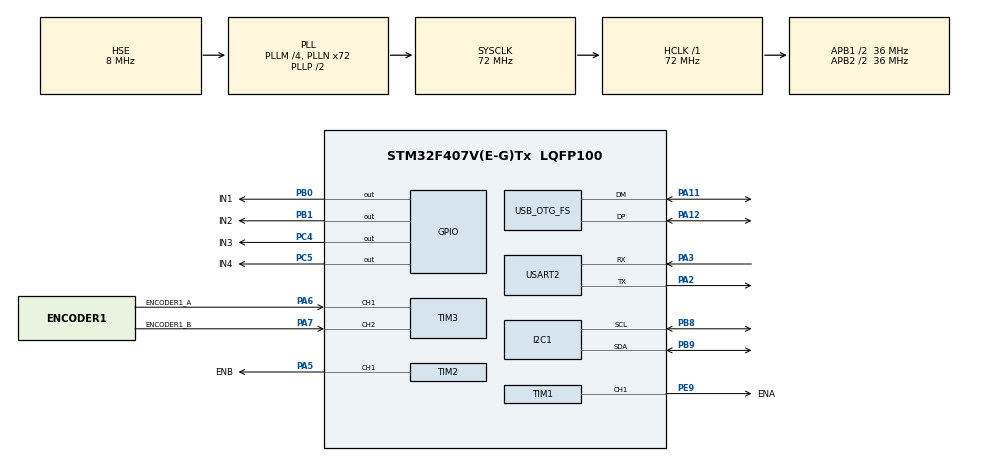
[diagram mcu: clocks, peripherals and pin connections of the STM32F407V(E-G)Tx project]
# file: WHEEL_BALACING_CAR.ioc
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Mcu.Family=STM32F4
Mcu.Name=STM32F407V(E-G)Tx
Mcu.Package=LQFP100
NVIC.OTG_FS_IRQn=true\:0\:0\:false\:false\:true\:false\:true\:true
NVIC.PriorityGroup=NVIC_PRIORITYGROUP_4
NVIC.TIM1_BRK_TIM9_IRQn=true\:0\:0\:false\:false\:true\:true\:true\:true
NVIC.TIM4_IRQn=true\:0\:0\:false\:false\:true\:true\:true\:true
NVIC.TIM5_IRQn=true\:0\:0\:false\:false\:true\:true\:true\:true
NVIC.USART2_IRQn=true\:0\:0\:false\:false\:true\:true\:true\:true
PA11.Mode=Device_Only
PA11.Signal=USB_OTG_FS_DM
PA12.Mode=Device_Only
PA12.Signal=USB_OTG_FS_DP
PA2.Mode=Asynchronous
PA2.Signal=USART2_TX
PA3.Mode=Asynchronous
PA3.Signal=USART2_RX
PA5.GPIO_Label=ENB
PA5.Signal=S_TIM2_CH1_ETR
PA6.GPIO_Label=ENCODER1_A
PA6.Signal=S_TIM3_CH1
PA7.GPIO_Label=ENCODER1_B
PA7.Signal=S_TIM3_CH2
PB0.GPIO_Label=IN1
PB0.GPIO_Speed=GPIO_SPEED_FREQ_HIGH
PB0.Signal=GPIO_Output
PB1.GPIO_Label=IN2
PB1.GPIO_Speed=GPIO_SPEED_FREQ_HIGH
PB1.Signal=GPIO_Output
PB8.Mode=I2C
PB8.Signal=I2C1_SCL
PB9.Mode=I2C
PB9.Signal=I2C1_SDA
PC4.GPIO_Label=IN3
PC4.GPIO_Speed=GPIO_SPEED_FREQ_HIGH
PC4.Signal=GPIO_Output
PC5.GPIO_Label=IN4
PC5.GPIO_Speed=GPIO_SPEED_FREQ_HIGH
PC5.Signal=GPIO_Output
PE9.GPIO_Label=ENA
PE9.Signal=S_TIM1_CH1
PH0-OSC_IN.Mode=HSE-External-Oscillator
PH0-OSC_IN.Signal=RCC_OSC_IN
PH1-OSC_OUT.Mode=HSE-External-Oscillator
PH1-OSC_OUT.Signal=RCC_OSC_OUT
ProjectManager.HeapSize=0x200
ProjectManager.StackSize=0x400
ProjectManager.TargetToolchain=STM32CubeIDE
RCC.48MHZClocksFreq_Value=48000000
RCC.AHBFreq_Value=72000000
RCC.APB1CLKDivider=RCC_HCLK_DIV2
RCC.APB1Freq_Value=36000000
RCC.APB1TimFreq_Value=72000000
RCC.APB2CLKDivider=RCC_HCLK_DIV2
RCC.APB2Freq_Value=36000000
RCC.APB2TimFreq_Value=72000000
RCC.CortexFreq_Value=72000000
RCC.HCLKFreq_Value=72000000
RCC.HSE_VALUE=8000000
RCC.HSI_VALUE=16000000
RCC.LSE_VALUE=32768
RCC.PLLM=4
RCC.PLLN=72
RCC.PLLQ=3
RCC.SYSCLKFreq_VALUE=72000000
RCC.SYSCLKSource=RCC_SYSCLKSOURCE_PLLCLK
RCC.VCOOutputFreq_Value=144000000
SH.S_TIM1_CH1.0=TIM1_CH1,PWM Generation1 CH1
SH.S_TIM2_CH1_ETR.0=TIM2_CH1,PWM Generation1 CH1
SH.S_TIM3_CH1.0=TIM3_CH1,Encoder_Interface
SH.S_TIM3_CH2.0=TIM3_CH2,Encoder_Interface
TIM1.Channel-PWM\ Generation1\ CH1=TIM_CHANNEL_1
TIM1.Period=999
TIM1.Prescaler=71
TIM2.Channel-PWM\ Generation1\ CH1=TIM_CHANNEL_1
TIM2.Period=999
TIM2.Prescaler=71
TIM3.EncoderMode=TIM_ENCODERMODE_TI12
TIM4.Period=49
TIM4.Prescaler=7199
TIM5.Period=199
TIM5.Prescaler=7199
USART2.VirtualMode=VM_ASYNC
USB_DEVICE.CLASS_NAME_FS=CDC
USB_DEVICE.VirtualMode-CDC_FS=Cdc
USB_DEVICE.VirtualModeFS=Cdc_FS
USB_OTG_FS.VirtualMode=Device_Only
VP_TIM1_VS_ClockSourceINT.Mode=Internal
VP_TIM2_VS_ClockSourceINT.Mode=Internal
VP_TIM4_VS_ClockSourceINT.Mode=Internal
VP_TIM5_VS_ClockSourceINT.Mode=Internal
VP_USB_DEVICE_VS_USB_DEVICE_CDC_FS.Mode=CDC_FS
board=custom

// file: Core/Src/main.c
/* USER CODE BEGIN Header */
/**
  ******************************************************************************
  * @file           : main.c
  * @brief          : Main program body
  ******************************************************************************
  * @attention
  *
  * Copyright (c) 2025 STMicroelectronics.
  * All rights reserved.
  *
  * This software is licensed under terms that can be found in the LICENSE file
  * in the root directory of this software component.
  * If no LICENSE file comes with this software, it is provided AS-IS.
  *
  ******************************************************************************
  */
/* USER CODE END Header */
#include "main.h"
#include "usb_device.h"

/* USER CODE BEGIN Includes */
#include <stdio.h>
#include <string.h>
#include <stdlib.h>
#include <math.h>
#include "usbd_cdc_if.h"
#include "mpu6050.h"
#include "pid.h"
#include "motor.h"
/* USER CODE END Includes */

I2C_HandleTypeDef hi2c1;

TIM_HandleTypeDef htim1;
TIM_HandleTypeDef htim2;
TIM_HandleTypeDef htim3;
TIM_HandleTypeDef htim4;
TIM_HandleTypeDef htim5;

UART_HandleTypeDef huart2;

/* USER CODE BEGIN PV */
MPU6050_t MPU6050;
Motor_TypeDef MT;
PID_TypeDef PID_Angle;

double Angle;
double Angle_Output;
double Angle_Setpoint = 0.5;

extern uint8_t check_global;

float Angle_kp = 18; //18
float Angle_ki = 122; //122
float Angle_kd = 0.32; //0.32

uint8_t Delay5msFlag = 0;
uint8_t Delay40msFlag = 0;

uint8_t sbBuffer[50];
uint8_t sbBufferLen = sizeof(sbBuffer);
uint8_t space[] = "\r\n";
uint8_t USB_ReceiveFlag = 0;
char *mPart, *dPart, *sPart;

uint8_t RxBuff[20];
uint8_t RxData;
uint8_t RxIndex;
uint8_t RxFlag = 0;
uint8_t PxBuff[20];

char buffer[50];
double sub = 0;
/* USER CODE END PV */

void SystemClock_Config(void);
static void MX_GPIO_Init(void);
static void MX_I2C1_Init(void);
static void MX_TIM1_Init(void);
static void MX_TIM2_Init(void);
static void MX_TIM3_Init(void);
static void MX_TIM5_Init(void);
static void MX_TIM4_Init(void);
static void MX_USART2_UART_Init(void);

/* USER CODE BEGIN 0 */
int _write(int file, char *ptr, int len) {
	while(CDC_Transmit_FS((uint8_t*) ptr, len) == USBD_BUSY);
    return len;
//    HAL_UART_Transmit(&huart2, (uint8_t *)ptr, len, HAL_MAX_DELAY);
//    return len;
}

void USB_CDC_RxHandler(uint8_t* Buf, uint32_t Len)
{
	memcpy(sbBuffer, Buf, Len);
	sbBuffer[Len] = '\0';
	sbBufferLen = Len;
	CDC_Transmit_FS(space, sizeof(space));

	USB_ReceiveFlag = 1;
}

void HAL_TIM_PeriodElapsedCallback(TIM_HandleTypeDef *htim)
{
	if (htim->Instance == TIM4)
	{
		Delay5msFlag = 1;
	}
	if (htim->Instance == TIM5)
	{
		Delay40msFlag = 1;
	}
}
//
//void UART2_SendFloat(float data)
//{
//    char buf[20];
//    int len = sprintf(buf, "%f\r\n", data);  // chuỗi có newline cho Serial Plotter
//    HAL_UART_Transmit(&huart2, (uint8_t*)buf, len, HAL_MAX_DELAY);
//}

void HAL_UART_RxCpltCallback(UART_HandleTypeDef *huart)
{
  /* Prevent unused argument(s) compilation warning */
  UNUSED(huart);
  if (huart->Instance == USART2)
  {
	  if (RxData != 13)
	  {
		  RxBuff[RxIndex++] = RxData;
	  }
	  else
	  {
		  RxBuff[RxIndex] = '\0';
		  RxIndex = 0;
		  RxFlag = 1;
	  }
	  HAL_UART_Receive_IT(&huart2, &RxData, 1);
  }
  /* NOTE: This function should not be modified, when the callback is needed,
           the HAL_UART_RxCpltCallback could be implemented in the user file
   */
}

/* USER CODE END 0 */

int main(void)
{

  /* MCU Configuration--------------------------------------------------------*/

  /* Reset of all peripherals, Initializes the Flash interface and the Systick. */
  HAL_Init();

  /* Configure the system clock */
  SystemClock_Config();

  /* Initialize all configured peripherals */
  MX_GPIO_Init();
  MX_USB_DEVICE_Init();
  MX_I2C1_Init();
  MX_TIM1_Init();
  MX_TIM2_Init();
  MX_TIM3_Init();
  MX_TIM5_Init();
  MX_TIM4_Init();
  MX_USART2_UART_Init();
  /* USER CODE BEGIN 2 */
  HAL_TIM_PWM_Start(&htim1, TIM_CHANNEL_1);
  HAL_TIM_PWM_Start(&htim2, TIM_CHANNEL_1);
  HAL_TIM_Encoder_Start(&htim3, TIM_CHANNEL_ALL);
  HAL_TIM_Base_Start_IT(&htim5);
  HAL_TIM_Base_Start_IT(&htim4);
//  HAL_UART_Receive_IT(&huart1, &rxByte, 1);

  mpu6050_init(&MPU6050, &Angle);
  PID_Init(&PID_Angle, &Angle, &Angle_Output, &Angle_Setpoint, Angle_kp, Angle_ki, Angle_kd, 5);

  setLimit(&PID_Angle, 50, -50, 100, -100);

  timer = HAL_GetTick();

  HAL_UART_Receive_IT(&huart2, &RxData, 1);
  /* USER CODE END 2 */

  /* Infinite loop */
  /* USER CODE BEGIN WHILE */
  while (1)
  {
//	  Xu ly giao tiep USB (Hercules, ESP32)
	  if (USB_ReceiveFlag)
	  {
	  	  char* OP = strtok((char*)sbBuffer, " ");
	  	  if (strcmp(OP, "T") == 0)
	  	  {
	  		  char* pPart = strtok(NULL, " ");
	  		  char* iPart = strtok(NULL, " ");
	  		  char* dPart = strtok(NULL, " ");

	  		  setTunings(&PID_Angle, atoff(pPart), atoff(iPart), atoff(dPart));

	  		  printf("Done!\r\n");
	  	  }
	  	  else if (strcmp(OP, "S") == 0)
	  	  {
	  		  printf("Kp: %f\r\n", fabs(PID_Angle.Kp));
	  		  printf("Ki: %f\r\n", fabs(PID_Angle.Ki/0.005));
	  		  printf("Kd: %f\r\n", fabs(PID_Angle.Kd*0.005));
	  		  printf("check_global: %d\r\n", check_global);
	  		  printf("Angle_Setpoint: %f\r\n", Angle_Setpoint);
	  		  printf("Angle: %f\r\n", Angle);
	  		  printf("Speed: %d\r\n", MT.per);
	  		  printf("Angle_Output: %f\r\n", Angle_Output);
	  	  }
	  	  else if (strcmp(OP, "M") == 0)
	  	  {
	  		  printf("Tuning: T <Kp> <Ki> <Kd>\r\n");
	  		  printf("Status: S\r\n");
	  	  }
	  	  else if (strcmp(OP, "A") == 0)
	  	  {
	  		  char* aPart = strtok(NULL, " ");
	  		  Angle_Setpoint = atof(aPart);
	  		  printf("Done!\r\n");
	  	  }
	  	  USB_ReceiveFlag = 0;
	  }

//	  if (RxFlag)
//	  	  {
//	  		  RxFlag = 0;
//	  		  HAL_UART_Transmit(&huart2, space, sizeof(space), HAL_MAX_DELAY);
//
//	  		  memcpy(PxBuff, RxBuff, sizeof(RxBuff));
//	  		  char* OP = strtok((char*)PxBuff, " ");
//	  		  if (strcmp(OP, "T") == 0)
//	  		  {
//	  	  		  char* pPart = strtok(NULL, " ");//Kp Part
//	  	  		  char* iPart = strtok(NULL, " ");//Ki Part
//	  	  		  char* dPart = strtok(NULL, " ");//Kd Part
//
//	  	  		  setTunings(&PID_Angle, atoff(pPart), atoff(iPart), atoff(dPart));
//	  //	  		  setTunings(&PID_Velocity1, atoff(pPart), atoff(iPart), atoff(dPart));
//	  	  		  printf("DONE!\r\n");
//	  		  }
//	  		  else if (strcmp(OP, "S") == 0)
//	  		  {
//	  	  		  printf("Kp: %f\r\n", fabs(PID_Angle.Kp));
//	  	  		  printf("Ki: %f\r\n", fabs(PID_Angle.Ki/0.01));
//	  	  		  printf("Kd: %f\r\n", fabs(PID_Angle.Kd*0.01));
//	  	  		  printf("Angle: %f\r\n", Angle);
//	  	  		  printf("Speed: %d\r\n", MT.per);
//	  	  		  printf("check_global: %d\r\n", check_global);
//	  		  }
//	  		  else if (strcmp(OP, "C") == 0)
//	  		  {
//	  			  char* mPart = strtok(NULL, " ");//Motor Part (M1, M2, ALL)
//	  			  char* dPart = strtok(NULL, " ");//Direct Part (F, R, S)
//	  			  char* sPart = strtok(NULL, " ");//Speed Part (0-100)
//
//	  			  Motor motor;
//	  			  Direction dir;
//	  			  uint16_t speed = atoi(sPart);
//
//	  			  if (strcmp(mPart, "M1") == 0) motor = M1;
//	  			  else if (strcmp(mPart, "M2") == 0) motor = M2;
//	  			  else if (strcmp(mPart, "ALL") == 0) motor = ALL;
//
//	  			  if (strcmp(dPart, "F") == 0) dir = F;
//	  			  else if (strcmp(mPart, "R") == 0) dir = R;
//	  			  else if (strcmp(mPart, "S") == 0) dir = S;
//
//	  			  Motor_Controller(motor, dir, speed);
//	  		  }
//	  	  }

	  	if (Delay5msFlag)
		{
	  		Delay5msFlag = 0;
	  		mpu6050_read_All(&MPU6050);
	  		computePID(&PID_Angle);
		}
		sprintf(buffer,"Angle: %f\r\n",Angle);
		CDC_Transmit_FS((uint8_t*)buffer, strlen(buffer));

	  	Motor_getPercent(&MT, Angle_Output);
	  	Motor_Controller(ALL, MT.dir, MT.per);

//	  	Motor_Controller(ALL, F, 100);
    /* USER CODE END WHILE */

  }
}

void SystemClock_Config(void)
{
  RCC_OscInitTypeDef RCC_OscInitStruct = {0};
  RCC_ClkInitTypeDef RCC_ClkInitStruct = {0};

  /** Configure the main internal regulator output voltage
  */
  __HAL_RCC_PWR_CLK_ENABLE();
  __HAL_PWR_VOLTAGESCALING_CONFIG(PWR_REGULATOR_VOLTAGE_SCALE1);

  /** Initializes the RCC Oscillators according to the specified parameters
  * in the RCC_OscInitTypeDef structure.
  */
  RCC_OscInitStruct.OscillatorType = RCC_OSCILLATORTYPE_HSE;
  RCC_OscInitStruct.HSEState = RCC_HSE_ON;
  RCC_OscInitStruct.PLL.PLLState = RCC_PLL_ON;
  RCC_OscInitStruct.PLL.PLLSource = RCC_PLLSOURCE_HSE;
  RCC_OscInitStruct.PLL.PLLM = 4;
  RCC_OscInitStruct.PLL.PLLN = 72;
  RCC_OscInitStruct.PLL.PLLP = RCC_PLLP_DIV2;
  RCC_OscInitStruct.PLL.PLLQ = 3;
  if (HAL_RCC_OscConfig(&RCC_OscInitStruct) != HAL_OK)
  {
    Error_Handler();
  }

  /** Initializes the CPU, AHB and APB buses clocks
  */
  RCC_ClkInitStruct.ClockType = RCC_CLOCKTYPE_HCLK|RCC_CLOCKTYPE_SYSCLK
                              |RCC_CLOCKTYPE_PCLK1|RCC_CLOCKTYPE_PCLK2;
  RCC_ClkInitStruct.SYSCLKSource = RCC_SYSCLKSOURCE_PLLCLK;
  RCC_ClkInitStruct.AHBCLKDivider = RCC_SYSCLK_DIV1;
  RCC_ClkInitStruct.APB1CLKDivider = RCC_HCLK_DIV2;
  RCC_ClkInitStruct.APB2CLKDivider = RCC_HCLK_DIV2;

  if (HAL_RCC_ClockConfig(&RCC_ClkInitStruct, FLASH_LATENCY_2) != HAL_OK)
  {
    Error_Handler();
  }
}

static void MX_I2C1_Init(void)
{

  hi2c1.Instance = I2C1;
  hi2c1.Init.ClockSpeed = 100000;
  hi2c1.Init.DutyCycle = I2C_DUTYCYCLE_2;
  hi2c1.Init.OwnAddress1 = 0;
  hi2c1.Init.AddressingMode = I2C_ADDRESSINGMODE_7BIT;
  hi2c1.Init.DualAddressMode = I2C_DUALADDRESS_DISABLE;
  hi2c1.Init.OwnAddress2 = 0;
  hi2c1.Init.GeneralCallMode = I2C_GENERALCALL_DISABLE;
  hi2c1.Init.NoStretchMode = I2C_NOSTRETCH_DISABLE;
  if (HAL_I2C_Init(&hi2c1) != HAL_OK)
  {
    Error_Handler();
  }

}

static void MX_TIM1_Init(void)
{

  TIM_ClockConfigTypeDef sClockSourceConfig = {0};
  TIM_MasterConfigTypeDef sMasterConfig = {0};
  TIM_OC_InitTypeDef sConfigOC = {0};
  TIM_BreakDeadTimeConfigTypeDef sBreakDeadTimeConfig = {0};

  htim1.Instance = TIM1;
  htim1.Init.Prescaler = 71;
  htim1.Init.CounterMode = TIM_COUNTERMODE_UP;
  htim1.Init.Period = 999;
  htim1.Init.ClockDivision = TIM_CLOCKDIVISION_DIV1;
  htim1.Init.RepetitionCounter = 0;
  htim1.Init.AutoReloadPreload = TIM_AUTORELOAD_PRELOAD_DISABLE;
  if (HAL_TIM_Base_Init(&htim1) != HAL_OK)
  {
    Error_Handler();
  }
  sClockSourceConfig.ClockSource = TIM_CLOCKSOURCE_INTERNAL;
  if (HAL_TIM_ConfigClockSource(&htim1, &sClockSourceConfig) != HAL_OK)
  {
    Error_Handler();
  }
  if (HAL_TIM_PWM_Init(&htim1) != HAL_OK)
  {
    Error_Handler();
  }
  sMasterConfig.MasterOutputTrigger = TIM_TRGO_RESET;
  sMasterConfig.MasterSlaveMode = TIM_MASTERSLAVEMODE_DISABLE;
  if (HAL_TIMEx_MasterConfigSynchronization(&htim1, &sMasterConfig) != HAL_OK)
  {
    Error_Handler();
  }
  sConfigOC.OCMode = TIM_OCMODE_PWM1;
  sConfigOC.Pulse = 0;
  sConfigOC.OCPolarity = TIM_OCPOLARITY_HIGH;
  sConfigOC.OCNPolarity = TIM_OCNPOLARITY_HIGH;
  sConfigOC.OCFastMode = TIM_OCFAST_DISABLE;
  sConfigOC.OCIdleState = TIM_OCIDLESTATE_RESET;
  sConfigOC.OCNIdleState = TIM_OCNIDLESTATE_RESET;
  if (HAL_TIM_PWM_ConfigChannel(&htim1, &sConfigOC, TIM_CHANNEL_1) != HAL_OK)
  {
    Error_Handler();
  }
  sBreakDeadTimeConfig.OffStateRunMode = TIM_OSSR_DISABLE;
  sBreakDeadTimeConfig.OffStateIDLEMode = TIM_OSSI_DISABLE;
  sBreakDeadTimeConfig.LockLevel = TIM_LOCKLEVEL_OFF;
  sBreakDeadTimeConfig.DeadTime = 0;
  sBreakDeadTimeConfig.BreakState = TIM_BREAK_DISABLE;
  sBreakDeadTimeConfig.BreakPolarity = TIM_BREAKPOLARITY_HIGH;
  sBreakDeadTimeConfig.AutomaticOutput = TIM_AUTOMATICOUTPUT_DISABLE;
  if (HAL_TIMEx_ConfigBreakDeadTime(&htim1, &sBreakDeadTimeConfig) != HAL_OK)
  {
    Error_Handler();
  }
  HAL_TIM_MspPostInit(&htim1);

}

static void MX_TIM2_Init(void)
{

  TIM_ClockConfigTypeDef sClockSourceConfig = {0};
  TIM_MasterConfigTypeDef sMasterConfig = {0};
  TIM_OC_InitTypeDef sConfigOC = {0};

  htim2.Instance = TIM2;
  htim2.Init.Prescaler = 71;
  htim2.Init.CounterMode = TIM_COUNTERMODE_UP;
  htim2.Init.Period = 999;
  htim2.Init.ClockDivision = TIM_CLOCKDIVISION_DIV1;
  htim2.Init.AutoReloadPreload = TIM_AUTORELOAD_PRELOAD_DISABLE;
  if (HAL_TIM_Base_Init(&htim2) != HAL_OK)
  {
    Error_Handler();
  }
  sClockSourceConfig.ClockSource = TIM_CLOCKSOURCE_INTERNAL;
  if (HAL_TIM_ConfigClockSource(&htim2, &sClockSourceConfig) != HAL_OK)
  {
    Error_Handler();
  }
  if (HAL_TIM_PWM_Init(&htim2) != HAL_OK)
  {
    Error_Handler();
  }
  sMasterConfig.MasterOutputTrigger = TIM_TRGO_RESET;
  sMasterConfig.MasterSlaveMode = TIM_MASTERSLAVEMODE_DISABLE;
  if (HAL_TIMEx_MasterConfigSynchronization(&htim2, &sMasterConfig) != HAL_OK)
  {
    Error_Handler();
  }
  sConfigOC.OCMode = TIM_OCMODE_PWM1;
  sConfigOC.Pulse = 0;
  sConfigOC.OCPolarity = TIM_OCPOLARITY_HIGH;
  sConfigOC.OCFastMode = TIM_OCFAST_DISABLE;
  if (HAL_TIM_PWM_ConfigChannel(&htim2, &sConfigOC, TIM_CHANNEL_1) != HAL_OK)
  {
    Error_Handler();
  }
  HAL_TIM_MspPostInit(&htim2);

}

static void MX_TIM3_Init(void)
{

  TIM_Encoder_InitTypeDef sConfig = {0};
  TIM_MasterConfigTypeDef sMasterConfig = {0};

  htim3.Instance = TIM3;
  htim3.Init.Prescaler = 0;
  htim3.Init.CounterMode = TIM_COUNTERMODE_UP;
  htim3.Init.Period = 65535;
  htim3.Init.ClockDivision = TIM_CLOCKDIVISION_DIV1;
  htim3.Init.AutoReloadPreload = TIM_AUTORELOAD_PRELOAD_DISABLE;
  sConfig.EncoderMode = TIM_ENCODERMODE_TI12;
  sConfig.IC1Polarity = TIM_ICPOLARITY_RISING;
  sConfig.IC1Selection = TIM_ICSELECTION_DIRECTTI;
  sConfig.IC1Prescaler = TIM_ICPSC_DIV1;
  sConfig.IC1Filter = 0;
  sConfig.IC2Polarity = TIM_ICPOLARITY_RISING;
  sConfig.IC2Selection = TIM_ICSELECTION_DIRECTTI;
  sConfig.IC2Prescaler = TIM_ICPSC_DIV1;
  sConfig.IC2Filter = 0;
  if (HAL_TIM_Encoder_Init(&htim3, &sConfig) != HAL_OK)
  {
    Error_Handler();
  }
  sMasterConfig.MasterOutputTrigger = TIM_TRGO_RESET;
  sMasterConfig.MasterSlaveMode = TIM_MASTERSLAVEMODE_DISABLE;
  if (HAL_TIMEx_MasterConfigSynchronization(&htim3, &sMasterConfig) != HAL_OK)
  {
    Error_Handler();
  }

}

static void MX_TIM4_Init(void)
{

  TIM_ClockConfigTypeDef sClockSourceConfig = {0};
  TIM_MasterConfigTypeDef sMasterConfig = {0};

  htim4.Instance = TIM4;
  htim4.Init.Prescaler = 7199;
  htim4.Init.CounterMode = TIM_COUNTERMODE_UP;
  htim4.Init.Period = 49;
  htim4.Init.ClockDivision = TIM_CLOCKDIVISION_DIV1;
  htim4.Init.AutoReloadPreload = TIM_AUTORELOAD_PRELOAD_DISABLE;
  if (HAL_TIM_Base_Init(&htim4) != HAL_OK)
  {
    Error_Handler();
  }
  sClockSourceConfig.ClockSource = TIM_CLOCKSOURCE_INTERNAL;
  if (HAL_TIM_ConfigClockSource(&htim4, &sClockSourceConfig) != HAL_OK)
  {
    Error_Handler();
  }
  sMasterConfig.MasterOutputTrigger = TIM_TRGO_RESET;
  sMasterConfig.MasterSlaveMode = TIM_MASTERSLAVEMODE_DISABLE;
  if (HAL_TIMEx_MasterConfigSynchronization(&htim4, &sMasterConfig) != HAL_OK)
  {
    Error_Handler();
  }

}

static void MX_TIM5_Init(void)
{

  TIM_ClockConfigTypeDef sClockSourceConfig = {0};
  TIM_MasterConfigTypeDef sMasterConfig = {0};

  htim5.Instance = TIM5;
  htim5.Init.Prescaler = 7199;
  htim5.Init.CounterMode = TIM_COUNTERMODE_UP;
  htim5.Init.Period = 199;
  htim5.Init.ClockDivision = TIM_CLOCKDIVISION_DIV1;
  htim5.Init.AutoReloadPreload = TIM_AUTORELOAD_PRELOAD_DISABLE;
  if (HAL_TIM_Base_Init(&htim5) != HAL_OK)
  {
    Error_Handler();
  }
  sClockSourceConfig.ClockSource = TIM_CLOCKSOURCE_INTERNAL;
  if (HAL_TIM_ConfigClockSource(&htim5, &sClockSourceConfig) != HAL_OK)
  {
    Error_Handler();
  }
  sMasterConfig.MasterOutputTrigger = TIM_TRGO_RESET;
  sMasterConfig.MasterSlaveMode = TIM_MASTERSLAVEMODE_DISABLE;
  if (HAL_TIMEx_MasterConfigSynchronization(&htim5, &sMasterConfig) != HAL_OK)
  {
    Error_Handler();
  }

}

static void MX_USART2_UART_Init(void)
{

  huart2.Instance = USART2;
  huart2.Init.BaudRate = 115200;
  huart2.Init.WordLength = UART_WORDLENGTH_8B;
  huart2.Init.StopBits = UART_STOPBITS_1;
  huart2.Init.Parity = UART_PARITY_NONE;
  huart2.Init.Mode = UART_MODE_TX_RX;
  huart2.Init.HwFlowCtl = UART_HWCONTROL_NONE;
  huart2.Init.OverSampling = UART_OVERSAMPLING_16;
  if (HAL_UART_Init(&huart2) != HAL_OK)
  {
    Error_Handler();
  }

}

static void MX_GPIO_Init(void)
{
  GPIO_InitTypeDef GPIO_InitStruct = {0};

  /* GPIO Ports Clock Enable */
  __HAL_RCC_GPIOH_CLK_ENABLE();
  __HAL_RCC_GPIOA_CLK_ENABLE();
  __HAL_RCC_GPIOC_CLK_ENABLE();
  __HAL_RCC_GPIOB_CLK_ENABLE();
  __HAL_RCC_GPIOE_CLK_ENABLE();

  /*Configure GPIO pin Output Level */
  HAL_GPIO_WritePin(GPIOC, IN3_Pin|IN4_Pin, GPIO_PIN_RESET);

  /*Configure GPIO pin Output Level */
  HAL_GPIO_WritePin(GPIOB, IN1_Pin|IN2_Pin, GPIO_PIN_RESET);

  /*Configure GPIO pins : IN3_Pin IN4_Pin */
  GPIO_InitStruct.Pin = IN3_Pin|IN4_Pin;
  GPIO_InitStruct.Mode = GPIO_MODE_OUTPUT_PP;
  GPIO_InitStruct.Pull = GPIO_NOPULL;
  GPIO_InitStruct.Speed = GPIO_SPEED_FREQ_HIGH;
  HAL_GPIO_Init(GPIOC, &GPIO_InitStruct);

  /*Configure GPIO pins : IN1_Pin IN2_Pin */
  GPIO_InitStruct.Pin = IN1_Pin|IN2_Pin;
  GPIO_InitStruct.Mode = GPIO_MODE_OUTPUT_PP;
  GPIO_InitStruct.Pull = GPIO_NOPULL;
  GPIO_InitStruct.Speed = GPIO_SPEED_FREQ_HIGH;
  HAL_GPIO_Init(GPIOB, &GPIO_InitStruct);

}

/* USER CODE BEGIN 4 */
//int _write(int file, char *ptr, int len)
//{
//    HAL_UART_Transmit(&huart2, (uint8_t *)ptr, len, HAL_MAX_DELAY);
//    return len;
//}
/* USER CODE END 4 */

void Error_Handler(void)
{
  __disable_irq();
  while (1)
  {
  }
}
